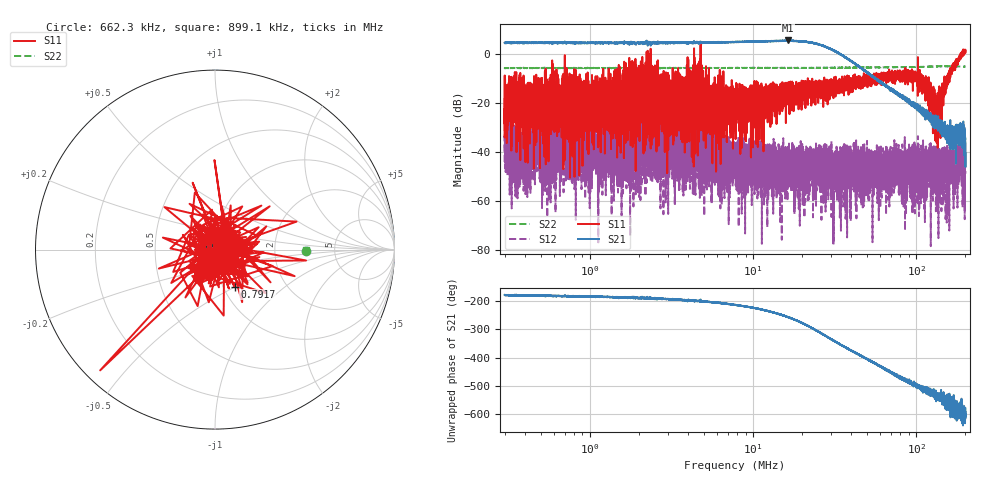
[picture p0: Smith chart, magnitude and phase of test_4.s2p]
# Hz S DB R 50
! CMT, M5065, 19127446, 24.2.4/2
! Date: 11/1/2024 4:56:51 PM
! Data: Format (Calibration Info)
! Freq	S11:dB/Ang(F2)	S21:dB/Ang(F2)	S12:dB/Ang(F2)	S22:dB/Ang(F2)
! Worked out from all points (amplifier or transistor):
!   9000 points, 300 kHz to 200 MHz, reference 50 ohm
!   highest |S21| = 5.4 dB at 16.27 MHz (marker M1)
!   |S21| within 3 dB of that: start of sweep to 28.63 MHz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
!   unconditionally stable (mu >= 1): 701.8 kHz to 2.225 MHz; 2.357 MHz to 4.345 MHz; 4.767 MHz to 187 MHz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
!   at 886.8 kHz: K = 40.77, MAG = 5.7 dB, |S12| = -45.2 dB
!   at 7.749 MHz: K = 49.22, MAG = 6.2 dB, |S12| = -47.4 dB
!   at 200 MHz: K = -2235.18, MSG = 6.1 dB, |S12| = -49.0 dB
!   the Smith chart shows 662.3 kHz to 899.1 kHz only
!   S11 on the Smith chart (normalised r, x): 662.3 kHz: 1.02, +0.15; 791.7 kHz: 1.13, -0.49; 899.1 kHz: 0.82, -0.17
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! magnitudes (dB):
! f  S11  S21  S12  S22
! 300 kHz  -22.7  4.4  -44.3  -5.9
! 310.1 kHz  -21.5  4.3  -37.1  -5.9
! 346.9 kHz  -11.3  4.4  -49.1  -5.9
! 512.4 kHz  -19.9  4.3  -40.5  -5.9
! 662.3 kHz  -22.6  4.4  -42.5  -5.9
! 791.7 kHz  -12.6  4.3  -44.4  -5.9
! 886.8 kHz  -27.8  4.4  -45.2  -5.9
! 899.1 kHz  -17.3  4.4  -42.0  -5.9
! 1.896 MHz  -21.6  4.4  -36.1  -5.9
! 2.115 MHz  -4.6  3.8  -45.5  -5.9
! 2.621 MHz  -21.6  4.2  -51.2  -5.9
! 7.749 MHz  -18.5  4.8  -47.4  -5.8
! 16.27 MHz  -13.0  5.4  -48.6  -5.8
! 22.91 MHz  -18.9  4.4  -45.2  -5.9
! 33.74 MHz  -11.4  0.0  -43.7  -5.8
! 67.71 MHz  -9.4  -13.5  -43.2  -5.6
! 104.8 MHz  -11.5  -22.2  -52.9  -5.4
! 118.6 MHz  -11.9  -25.2  -45.3  -5.3
! 133.6 MHz  -23.6  -27.6  -56.5  -5.2
! 165.1 MHz  -6.9  -33.9  -41.2  -5.2
! 191.2 MHz  -0.2  -30.5  -42.5  -5.3
! 200 MHz  1.2  -36.8  -49.0  -5.3
